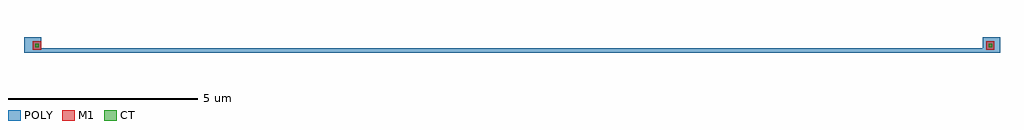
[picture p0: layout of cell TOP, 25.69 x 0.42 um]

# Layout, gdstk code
import gdstk
lib = gdstk.Library(unit=1e-6, precision=1e-09)
def R(c, l, rs):  # rectangles x0, y0, x1, y1
    for r in rs: c.add(gdstk.rectangle(r[:2], r[2:], *l))
POLY = (41, 1)
CT = (72, 1)
M1 = (81, 1)

top = lib.new_cell('TOP')
R(top, POLY, [(0,0,25.69,0.12), (0,0,0.45,0.42), (25.24,0,25.69,0.42)])
R(top, CT, [(0.3,0.15,0.39,0.24), (25.39,0.15,25.48,0.24)])
R(top, M1, [(0.235,0.085,0.455,0.305), (25.325,0.085,25.545,0.305)])

lib.write_gds('TOP.gds')
